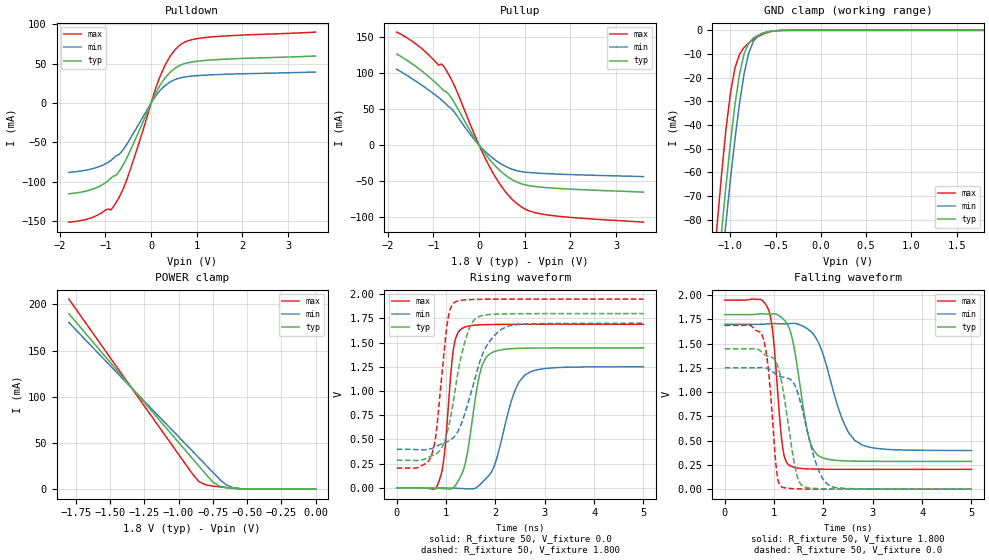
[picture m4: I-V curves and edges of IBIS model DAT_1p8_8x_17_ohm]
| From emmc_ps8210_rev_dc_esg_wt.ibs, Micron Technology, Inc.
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|   Model DAT_1p8_8x_17_ohm
[Model]   DAT_1p8_8x_17_ohm
Model_type   I/O
Vinl   = 0.68V
Vinh   = 1.11V
Vmeas  = 0.90V
|   typ   min   max
C_comp   5.490pF   5.000pF   5.930pF
[Voltage Range]   1.800V   1.700V   1.950V
| Junction Temperature (Ambient temp is 35C typ, 85C min, -25C max)
[Temperature Range]   50.0   100.0   -25.0
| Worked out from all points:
|   slope of the pulldown table from 0 to 0.27 V, typ, clamps not added: 9.32 ohm
|   slope of the pullup table from 0 to 0.27 V, typ, clamps not added: 11.7 ohm
|   GND clamp passes 1 mA (typ) near -0.62 V on its own axis
|   POWER clamp passes 1 mA (typ) near -0.61 V on its own axis
|   rising waveform, R_fixture 50, V_fixture 0.0: 20-80 % time 267ps typ, 401ps min, 166ps max; typ from 0 V to 1.45 V
|   falling waveform, R_fixture 50, V_fixture 1.800: 20-80 % time 289ps typ, 479ps min, 168ps max; typ from 1.8 V to 0.286 V
|   rising waveform, R_fixture 50, V_fixture 1.800: 20-80 % time 346ps typ, 487ps min, 204ps max; typ from 0.286 V to 1.8 V
|   falling waveform, R_fixture 50, V_fixture 0.0: 20-80 % time 271ps typ, 386ps min, 166ps max; typ from 1.45 V to 0 V
[Pulldown]
|   Voltage   I(typ)   I(min)   I(max)
-1.8V     -115.2mA   -88.1mA    -151.3mA
-1.26V    -108.9mA   -82.98mA   -144.7mA
-990mV    -100.9mA   -76.99mA   -135.5mA
-882mV    -95.5mA    -72.93mA   -135.9mA
-774mV    -92.03mA   -67.49mA   -127mA
-504mV    -66.45mA   -49.74mA   -92.73mA
198mV     22.77mA    16.04mA    34.05mA
414mV     38.86mA    26.61mA    58.96mA
630mV     47.79mA    31.84mA    73.52mA
846mV     51.65mA    33.94mA    79.73mA
1.278V    54.53mA    35.72mA    83.71mA
3.6V      59.7mA     39.36mA    90.11mA
[GND_clamp]
|   Voltage   I(typ)   I(min)   I(max)
-1.8V     -423.5mA   -425.5mA   -421.7mA
-1.15V    -106.9mA   -121.7mA   -83.42mA
-1.1V     -85.79mA   -101.1mA   -61.61mA
-1.05V    -65.86mA   -81.43mA   -42.03mA
-1V       -47.53mA   -62.91mA   -26.45mA
-950mV    -31.34mA   -45.93mA   -15.87mA
-900mV    -18.56mA   -30.95mA   -10.14mA
-850mV    -10.08mA   -18.57mA   -7.26mA
-800mV    -5.518mA   -9.883mA   -5.408mA
-700mV    -2.184mA   -2.431mA   -2.753mA
-450mV    -66.35uA   -50.69uA   -70.78uA
1.8V      83.71pA    4.239nA    14.85pA
[Pullup]
|   Voltage   I(typ)   I(min)   I(max)
-1.8V     126.5mA    105.3mA    157mA
-1.314V   106mA      85.86mA    137.2mA
-882mV    82.61mA    65.93mA    110.9mA
-774mV    75.63mA    60.1mA     109.5mA
-612mV    66.03mA    51.27mA    91.88mA
-126mV    12.62mA    9.414mA    18.56mA
252mV     -21.66mA   -15.72mA   -32.83mA
522mV     -39.06mA   -27.83mA   -60.19mA
846mV     -52.05mA   -35.96mA   -82.36mA
1.116V    -56.75mA   -38.36mA   -92.06mA
1.494V    -59.36mA   -39.86mA   -97.24mA
3.6V      -65.59mA   -44.02mA   -107.4mA
[POWER_clamp]
|   Voltage   I(typ)   I(min)   I(max)
-1.8V     189.8mA    180.3mA    205.7mA
-900mV    33.36mA    41.43mA    16.88mA
-850mV    24.71mA    33.74mA    7.997mA
-800mV    16.03mA    26.04mA    4.596mA
-750mV    7.762mA    18.34mA    3.354mA
-700mV    3.218mA    10.64mA    2.457mA
-650mV    1.558mA    4.403mA    1.681mA
-600mV    854.9uA    1.541mA    1.032mA
-500mV    194.5uA    191.2uA    217.2uA
0V        83.62pA    270.5pA    20.77pA
[Ramp]
|   typ   min   max
dV/dt_r   867.77m/266.42p   750.76m/401.55p   1.01/165.95p
dV/dt_f   908.53m/288.69p   781.11m/479.39p   1.05/168.11p
R_load = 50
[Rising Waveform]
R_fixture = 50
V_fixture = 0.0
|   Time   V(typ)   V(min)   V(max)
0s        3.624nV    10.59nV    1.318nV
830ps     -2.847mV   -1.451mV   34.52mV
960ps     -8.078mV   -1.561mV   325.8mV
1.15ns    2.179mV    -2.618mV   1.44V
1.32ns    146.2mV    -6.897mV   1.645V
1.67ns    1.155V     24.78mV    1.683V
1.88ns    1.382V     136.8mV    1.687V
2.37ns    1.439V     973.6mV    1.689V
2.59ns    1.443V     1.163V     1.689V
5ns       1.446V     1.251V     1.69V
[Falling Waveform]
R_fixture   = 50
V_fixture   = 1.800
V_fixture_min = 1.700
V_fixture_max = 1.950
|   Time   V(typ)   V(min)   V(max)
0s        1.8V       1.7V       1.95V
880ps     1.805V     1.705V     1.861V
980ps     1.809V     1.707V     1.591V
1.17ns    1.762V     1.704V     446.2mV
1.31ns    1.656V     1.706V     246.5mV
1.67ns    611.6mV    1.656V     209.1mV
1.89ns    347.8mV    1.522V     206.2mV
2.38ns    293.1mV    723.8mV    204.6mV
2.64ns    288.9mV    502mV      204.4mV
5ns       285.8mV    398.7mV    204.1mV
[Rising Waveform]
R_fixture   = 50
V_fixture   = 1.800
V_fixture_min = 1.700
V_fixture_max = 1.950
|   Time   V(typ)   V(min)   V(max)
0s        285.8mV    398.2mV    204.1mV
710ps     331.1mV    407.1mV    347.7mV
810ps     355.4mV    430.5mV    617.2mV
1.03ns    591mV      479.1mV    1.722V
1.16ns    936.4mV    526.5mV    1.911V
1.31ns    1.371V     666.1mV    1.938V
1.51ns    1.692V     992.9mV    1.945V
1.78ns    1.784V     1.429V     1.948V
2.12ns    1.796V     1.637V     1.95V
5ns       1.8V       1.7V       1.95V
[Falling Waveform]
R_fixture = 50
V_fixture = 0.0
|   Time   V(typ)   V(min)   V(max)
0s        1.446V     1.251V     1.69V
770ps     1.404V     1.254V     1.572V
890ps     1.367V     1.24V      1.211V
1.05ns    1.304V     1.181V     198.8mV
1.16ns    1.086V     1.156V     21.58mV
1.42ns    241.5mV    1.073V     4.456mV
1.6ns     25.49mV    761.6mV    2.19mV
1.91ns    5.257mV    185.6mV    835.7uV
2.17ns    2.265mV    25.71mV    384.7uV
5ns       28.79uV    71.48uV    18.64uV
